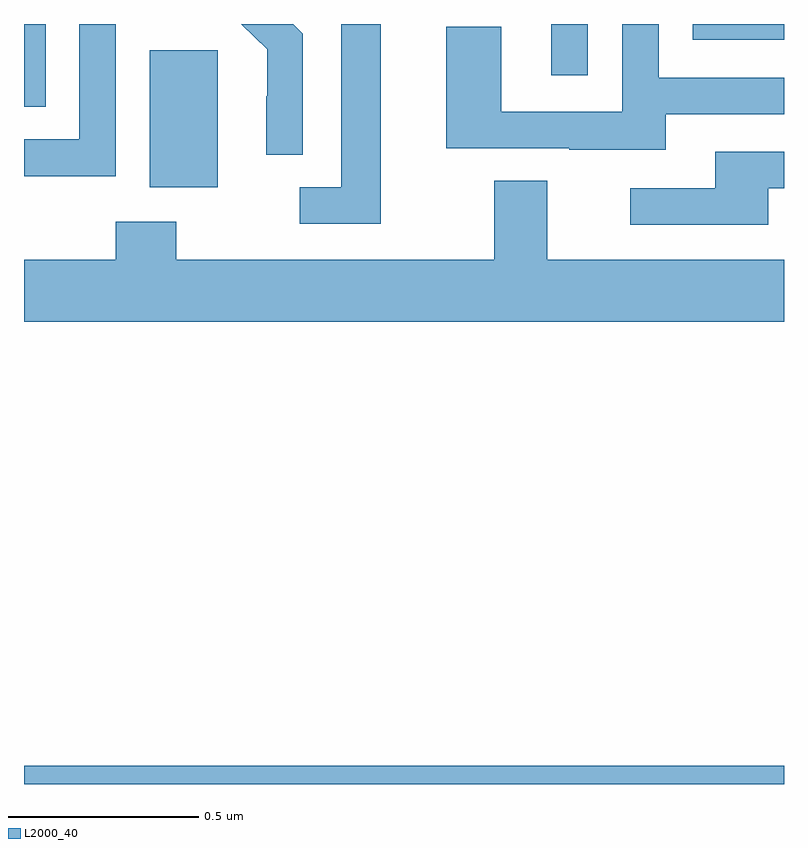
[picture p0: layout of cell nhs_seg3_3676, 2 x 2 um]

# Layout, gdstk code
import gdstk
lib = gdstk.Library(unit=1e-6, precision=1e-09)
def R(c, l, rs):  # rectangles x0, y0, x1, y1
    for r in rs: c.add(gdstk.rectangle(r[:2], r[2:], *l))
def P(c, l, *ps):  # polygons
    for p in ps: c.add(gdstk.Polygon(p, *l))
L2000_40 = (2000, 40)

nhs_seg3_3676 = lib.new_cell('nhs_seg3_3676')
R(nhs_seg3_3676, L2000_40, [(157,666.4,159,666.448), (157.331,667.97,157.51,668.331), (157,668.182,157.057,668.4), (158.387,668.265,158.484,668.4), (158.76,668.358,159,668.4)])
P(nhs_seg3_3676, L2000_40, [(157.939,668.4),(157.835,668.4),(157.835,667.971),(157.725,667.971),(157.725,667.875),(157.939,667.875)],
  [(157.242,668.4),(157.146,668.4),(157.146,668.097),(157,668.097),(157,667.999),(157.242,667.999)],
  [(157.734,668.374),(157.708,668.4),(157.572,668.4),(157.64,668.333),(157.64,668.21),(157.638,668.21),(157.638,668.056),(157.734,668.056)],
  [(158.689,668.163),(159,668.163),(159,668.259),(158.67,668.259),(158.67,668.4),(158.574,668.4),(158.574,668.169),(158.256,668.169),(158.256,668.393),(158.111,668.393),(158.111,668.073),(158.435,668.073),(158.435,668.069),(158.689,668.069)],
  [(158.959,667.968),(159,667.968),(159,668.064),(158.819,668.064),(158.819,667.968),(158.595,667.968),(158.595,667.872),(158.959,667.872)],
  [(159,667.78),(158.377,667.78),(158.377,667.988),(158.237,667.988),(158.237,667.78),(157.401,667.78),(157.401,667.879),(157.241,667.879),(157.241,667.78),(157,667.78),(157,667.616),(159,667.616)])

lib.write_gds('nhs_seg3_3676.gds')
